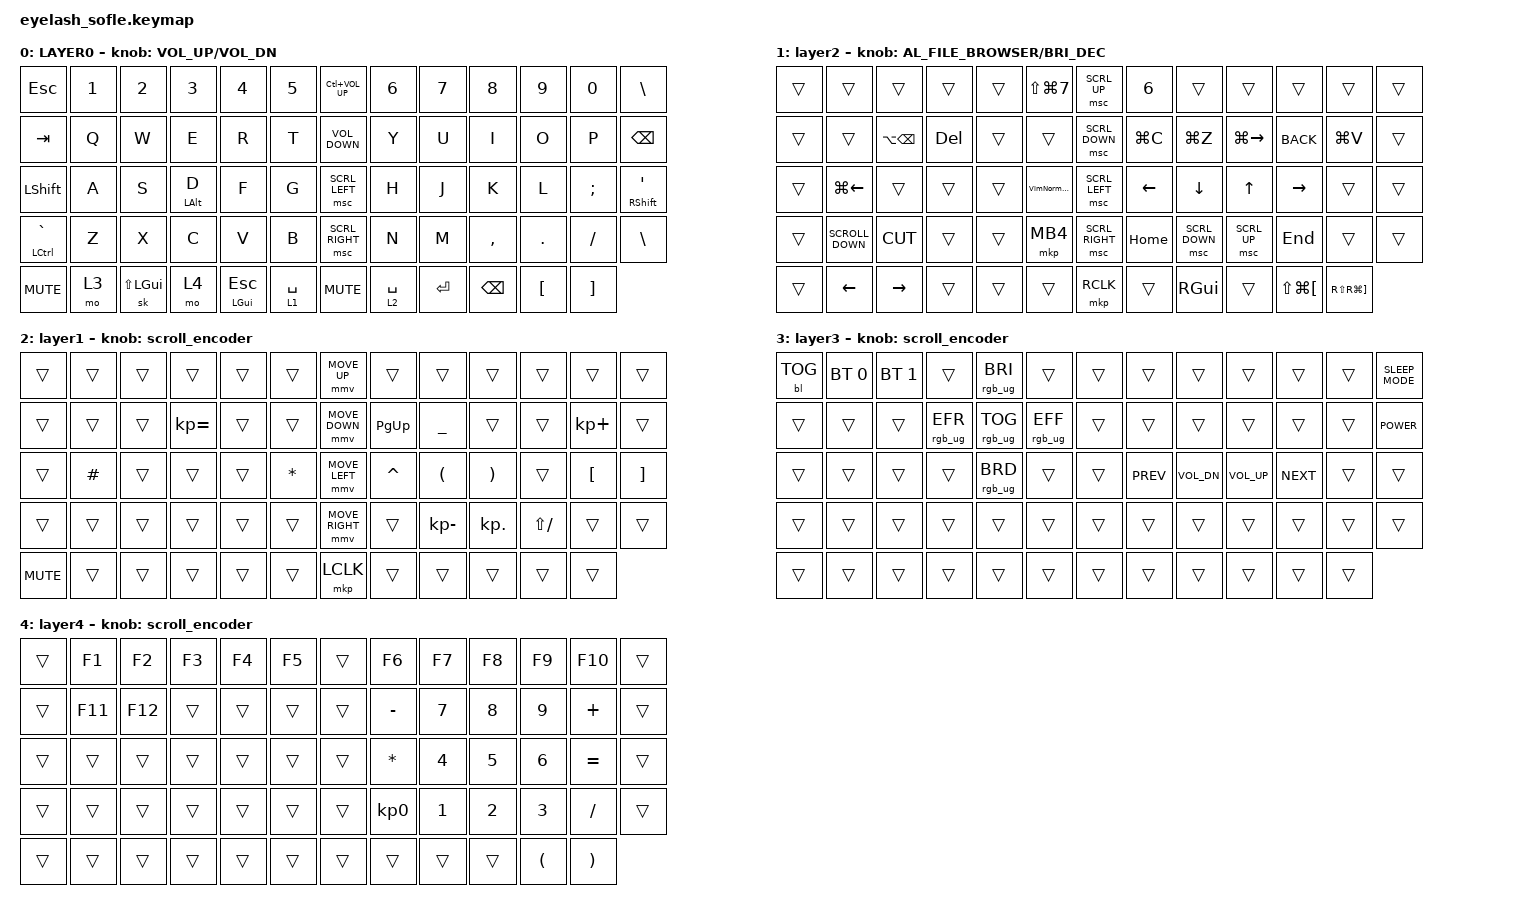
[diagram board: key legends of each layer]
#define ZMK_POINTING_DEFAULT_MOVE_VAL 1200  // 600
#define ZMK_POINTING_DEFAULT_SCRL_VAL 25   // 10

#include <input/processors.dtsi>
#include <zephyr/dt-bindings/input/input-event-codes.h>
#include <behaviors.dtsi>
#include <dt-bindings/zmk/backlight.h>
#include <dt-bindings/zmk/bt.h>
#include <dt-bindings/zmk/keys.h>
#include <dt-bindings/zmk/pointing.h>
#include <dt-bindings/zmk/rgb.h>

&mmv_input_listener { input-processors = <&zip_xy_scaler 2 1>; };

&msc_input_listener { input-processors = <&zip_scroll_scaler 2 1>; };

&msc {
    acceleration-exponent = <1>;      // 0
    time-to-max-speed-ms = <100>;       // 300
    delay-ms = <0>;                   // 0
};

&mmv {
    time-to-max-speed-ms = <500>;
    acceleration-exponent = <1>;
    trigger-period-ms = <16>;
};

&soft_off { hold-time-ms = <2000>; };

/ {
    scroll_encoder: scroll_encoder {
        compatible = "zmk,behavior-sensor-rotate";
        #sensor-binding-cells = <0>;
        bindings = <&msc SCRL_DOWN>, <&msc SCRL_UP>;

        tap-ms = <100>;
    };

    HMShiftR: HMShiftR {
        compatible = "zmk,behavior-hold-tap";
        label = "HMSHIFTR";
        bindings = <&kp>, <&kp>;

        #binding-cells = <2>;
        tapping-term-ms = <350>;
        hold-trigger-key-positions = <0 1 2 3 4 5 18 17 16 15 14 13 26 27 28 29 30 42 43 54 55 44 31 41 53 40 39 56 57 52 60>;
        require-prior-idle-ms = <100>;
        quick-tap-ms = <175>;
        flavor = "balanced";
    };

    HMShiftL: HMShiftL {
        compatible = "zmk,behavior-hold-tap";
        label = "HMSHIFTL";
        bindings = <&kp>, <&kp>;

        #binding-cells = <2>;
        tapping-term-ms = <350>;
        hold-trigger-key-positions = <7 8 9 10 11 12 20 21 22 23 24 25 33 34 35 36 37 38 46 47 48 49 50 51 60 61 62 63 59 6 19 32 45 58 39 29 56 1 2 3 4 5 13 44 16>;
        flavor = "balanced";
        quick-tap-ms = <175>;
        require-prior-idle-ms = <100>;
    };

    HMOptionL: HMOptionL {
        compatible = "zmk,behavior-hold-tap";
        label = "HMOPTIONL";
        bindings = <&kp>, <&kp>;

        #binding-cells = <2>;
        tapping-term-ms = <350>;
        hold-trigger-key-positions = <7 8 9 10 11 12 20 21 22 23 24 25 33 34 35 36 37 38 46 47 48 49 50 51 60 61 62 63 59 6 19 32 45 58 57 39>;
        flavor = "balanced";
        quick-tap-ms = <175>;
        require-prior-idle-ms = <100>;
        hold-trigger-on-release;
    };

    HMOptionR: HMOptionR {
        compatible = "zmk,behavior-hold-tap";
        label = "HMOPTIONR";
        bindings = <&kp>, <&kp>;

        #binding-cells = <2>;
        tapping-term-ms = <350>;
        hold-trigger-key-positions = <0 1 2 3 4 5 18 17 16 15 14 13 26 27 28 29 30 42 43 54 55 44 31 41 53 40 39 56 57 52 60>;
        require-prior-idle-ms = <100>;
        quick-tap-ms = <175>;
        hold-trigger-on-release;
        flavor = "balanced";
    };

    VimNormalG: VimNormalG {
        compatible = "zmk,behavior-tap-dance";
        label = "VIMNORMALG";
        #binding-cells = <0>;
        tapping-term-ms = <200>;
        bindings = <&kp LC(END)>, <&kp LC(HOME)>;
    };

    CAPS_WORDS: CAPS_WORDS {
        compatible = "zmk,behavior-caps-word";
        label = "CAPS_WORDS";
        #binding-cells = <0>;
        continue-list = <UNDERSCORE SPACE BACKSPACE>;
    };

    NUM_WORD: NUM_WORD {
        compatible = "zmk,behavior-caps-word";
        label = "NUM_WORD";
        #binding-cells = <0>;
        continue-list = <NUMBER_1 NUMBER_2 NUMBER_3 NUMBER_4 NUMBER_5 NUMBER_6 NUMBER_7 NUMBER_8 NUMBER_9 NUMBER_0 MINUS PLUS BACKSPACE SPACE DOT COMMA>;
        mods = <(MOD_LSFT)>;
    };

    AmpersandOnDouble: AmpersandOnDouble {
        compatible = "zmk,behavior-tap-dance";
        label = "AMPERSANDONDOUBLE";
        #binding-cells = <0>;
        bindings = <&kp U>, <&kp AMPS>;

        tapping-term-ms = <200>;
    };

    behaviors {
    };

    combos {
        compatible = "zmk,combos";

        Pause {
            bindings = <&kp C_PLAY_PAUSE>;
            key-positions = <34 35>;
            layers = <3>;
        };

        ToggleCaps {
            bindings = <&CAPS_WORDS>;
            key-positions = <39 51>;
            layers = <0>;
        };

        Backspace {
            bindings = <&kp BACKSPACE>;
            key-positions = <21 22>;
            layers = <4>;
            require-prior-idle-ms = <125>;
        };

        LeftParenthesis {
            bindings = <&kp LEFT_PARENTHESIS>;
            key-positions = <33 46>;
            layers = <0>;
            require-prior-idle-ms = <150>;
        };

        RightParenthesis {
            bindings = <&kp RIGHT_PARENTHESIS>;
            key-positions = <34 47>;
            layers = <0>;
            require-prior-idle-ms = <125>;
        };

        Plus {
            bindings = <&kp PLUS>;
            key-positions = <34 21>;
            layers = <0 4>;
            require-prior-idle-ms = <125>;
        };

        Minus {
            bindings = <&kp MINUS>;
            key-positions = <34 33>;
            layers = <0 4>;
            require-prior-idle-ms = <125>;
        };

        Caret {
            bindings = <&kp CARET>;
            key-positions = <20 21>;
            layers = <0>;
        };

        Dollar {
            bindings = <&kp DOLLAR>;
            key-positions = <17 18>;
            require-prior-idle-ms = <125>;
        };

        Percent {
            bindings = <&kp PERCENT>;
            key-positions = <18 31>;
            require-prior-idle-ms = <125>;
        };

        Equal {
            bindings = <&kp EQUAL>;
            key-positions = <33 21>;
            layers = <0 4>;
            require-prior-idle-ms = <125>;
        };

        StickyNav {
            bindings = <&sk RIGHT_ALT>;
            key-positions = <27 31>;
            layers = <0 4>;
            require-prior-idle-ms = <125>;
        };

        F12_2 {
            bindings = <&kp F12>;
            key-positions = <1 2>;
            layers = <0>;
        };
    };

    keymap {
        compatible = "zmk,keymap";

        Base {
            bindings = <
&kp ESCAPE       &kp N1  &kp N2            &kp N3                 &kp N4               &kp N5         &kp LC(C_VOLUME_UP)  &kp N6       &kp N7     &kp N8         &kp N9            &kp N0             &kp BACKSLASH
&kp TAB          &kp Q   &kp W             &kp E                  &kp R                &kp T          &kp C_VOLUME_DOWN    &kp Y        &kp U      &kp I          &kp O             &kp P              &kp BACKSPACE
&kp LEFT_SHIFT   &kp A   &kp S             &HMOptionL LEFT_ALT D  &kp F                &kp G          &msc SCRL_LEFT       &kp H        &kp J      &kp K          &kp L             &kp SEMI           &mt RIGHT_SHIFT APOS
&mt LCTRL GRAVE  &kp Z   &kp X             &kp C                  &kp V                &kp B          &msc SCRL_RIGHT      &kp N        &kp M      &kp COMMA      &kp DOT           &kp FSLH           &kp BACKSLASH
&kp C_MUTE       &mo 3   &sk LS(LEFT_GUI)  &mo 4                  &mt LEFT_GUI ESCAPE  &lt 1 SPACE    &kp C_MUTE           &lt 2 SPACE  &kp ENTER  &kp BACKSPACE  &kp LEFT_BRACKET  &kp RIGHT_BRACKET
            >;

            sensor-bindings = <&inc_dec_kp C_VOLUME_UP C_VOL_DN>;
            display-name = "LAYER0";
        };

        Navigation {
            bindings = <
&trans  &trans              &trans             &trans      &trans  &kp LS(LG(NUMBER_7))    &msc SCRL_UP     &kp NUMBER_6  &trans          &trans               &trans                    &trans            &trans
&trans  &trans              &kp LA(BACKSPACE)  &kp DELETE  &trans  &trans                  &msc SCRL_DOWN   &kp LG(C)     &kp LG(Z)       &kp LG(RIGHT_ARROW)  &kp K_BACK                &kp LG(V)         &trans
&trans  &kp LG(LEFT_ARROW)  &trans             &trans      &trans  &VimNormalG             &msc SCRL_LEFT   &kp LEFT      &kp DOWN        &kp UP_ARROW         &kp RIGHT                 &trans            &trans
&trans  &kp K_SCROLL_DOWN   &kp K_CUT          &trans      &trans  &mkp MB4                &msc SCRL_RIGHT  &kp HOME      &msc SCRL_DOWN  &msc SCRL_UP         &kp END                   &trans            &trans
&trans  &kp LEFT_ARROW      &kp RIGHT_ARROW    &trans      &trans  &trans                  &mkp RCLK        &trans        &kp RIGHT_GUI   &trans               &kp LS(LG(LEFT_BRACKET))  &kp RS(RG(RBKT))
            >;

            display-name = "layer2";
            sensor-bindings = <&inc_dec_kp C_AL_FILE_BROWSER C_BRIGHTNESS_DEC>;
        };

        Symbols {
            bindings = <
&trans      &trans    &trans  &trans        &trans  &trans      &mmv MOVE_UP     &trans     &trans                &trans                 &trans         &trans            &trans
&trans      &trans    &trans  &kp KP_EQUAL  &trans  &trans      &mmv MOVE_DOWN   &kp PG_UP  &kp UNDERSCORE        &trans                 &trans         &kp KP_PLUS       &trans
&trans      &kp HASH  &trans  &trans        &trans  &kp STAR    &mmv MOVE_LEFT   &kp CARET  &kp LEFT_PARENTHESIS  &kp RIGHT_PARENTHESIS  &trans         &kp LEFT_BRACKET  &kp RIGHT_BRACKET
&trans      &trans    &trans  &trans        &trans  &trans      &mmv MOVE_RIGHT  &trans     &kp KP_MINUS          &kp KP_DOT             &kp LS(SLASH)  &trans            &trans
&kp C_MUTE  &trans    &trans  &trans        &trans  &trans      &mkp LCLK        &trans     &trans                &trans                 &trans         &trans
            >;

            display-name = "layer1";
            sensor-bindings = <&scroll_encoder>;
        };

        System {
            bindings = <
&bl BL_TOG  &bt BT_SEL 0  &bt BT_SEL 1  &trans           &rgb_ug RGB_BRI  &trans             &trans  &trans      &trans        &trans        &trans      &trans  &kp C_SLEEP_MODE
&trans      &trans        &trans        &rgb_ug RGB_EFR  &rgb_ug RGB_TOG  &rgb_ug RGB_EFF    &trans  &trans      &trans        &trans        &trans      &trans  &kp C_POWER
&trans      &trans        &trans        &trans           &rgb_ug RGB_BRD  &trans             &trans  &kp C_PREV  &kp C_VOL_DN  &kp C_VOL_UP  &kp C_NEXT  &trans  &trans
&trans      &trans        &trans        &trans           &trans           &trans             &trans  &trans      &trans        &trans        &trans      &trans  &trans
&trans      &trans        &trans        &trans           &trans           &trans             &trans  &trans      &trans        &trans        &trans      &trans
            >;

            display-name = "layer3";
            sensor-bindings = <&scroll_encoder>;
        };

        NumLayer {
            bindings = <
&trans  &kp F1   &kp F2   &kp F3  &kp F4  &kp F5    &trans  &kp F6           &kp F7        &kp F8        &kp F9                &kp F10                &trans
&trans  &kp F11  &kp F12  &trans  &trans  &trans    &trans  &kp MINUS        &kp NUMBER_7  &kp N8        &kp N9                &kp PLUS               &trans
&trans  &trans   &trans   &trans  &trans  &trans    &trans  &kp ASTERISK     &kp NUMBER_4  &kp N5        &kp N6                &kp EQUAL              &trans
&trans  &trans   &trans   &trans  &trans  &trans    &trans  &kp KP_NUMBER_0  &kp NUMBER_1  &kp NUMBER_2  &kp NUMBER_3          &kp SLASH              &trans
&trans  &trans   &trans   &trans  &trans  &trans    &trans  &trans           &trans        &trans        &kp LEFT_PARENTHESIS  &kp RIGHT_PARENTHESIS
            >;

            display-name = "layer4";
            sensor-bindings = <&scroll_encoder>;
        };
    };
};
